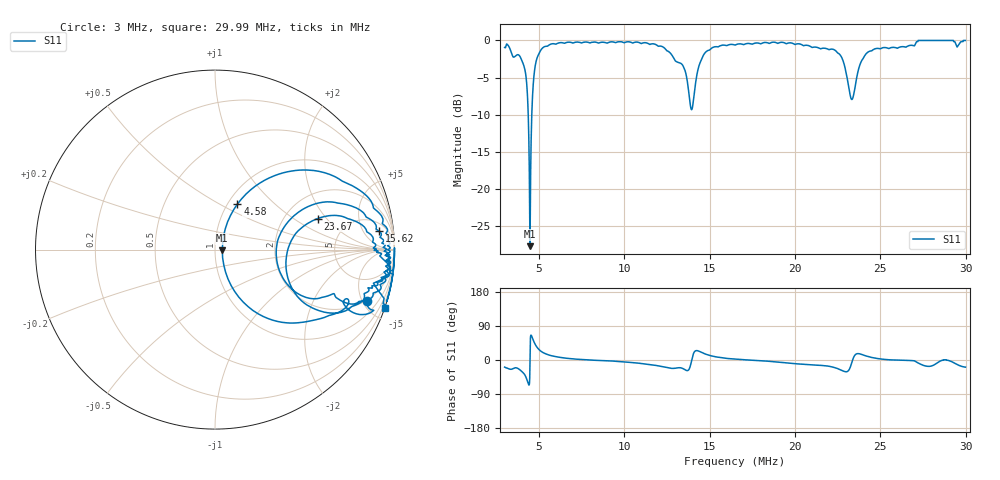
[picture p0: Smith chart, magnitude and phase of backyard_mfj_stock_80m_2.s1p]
! Touchstone file generated by AntScope2
# MHz Z RI R 50
! Format: Frequency Z-real Z-imaginary (normalized to 50 Ohm)
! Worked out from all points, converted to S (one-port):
!   2000 points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, 3 MHz to 29.99 MHz, reference 50 ohm
!   lowest |S11| = -27.7 dB at 4.485 MHz (marker M1), VSWR 1.09, Z = 54.2 - j0.43 ohm
!   |S11| at or under -10 dB: 4.383 MHz to 4.592 MHz (209.2 kHz wide, 4.66 % of centre)
!   S11 on the Smith chart (normalised r, x): 3 MHz: 1.85, -5.45; 4.58 MHz: 1.11, +0.61; 15.62 MHz: 9, +12; 23.67 MHz: 3.02, +1.62; 29.99 MHz: 0.00, -6.03
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3  1.851 -5.452
3.8235  2.092 -3.676
4.134  1.504 -2.163
4.3095  1.188 -1.191
4.485  1.085 -0.0086
4.5795  1.108 0.6132
4.7145  1.185 1.504
4.9305  1.4 2.906
5.3355  1.86 5.855
6.375  5.549 16.88
9.75  6.943 -25.47
11.775  1.831 -7.877
13.125  2.803 -2.894
13.6515  2.14 -1.695
13.962  2.038 0.0198
14.3805  2.528 2.453
15.6225  8.639 11.56
16.5  21.47 11.52
19.875  3.402 -11.72
22.278  2.118 -4.978
22.872  1.852 -2.526
23.25  2.179 -0.7004
23.6685  3.017 1.624
24.654  10.18 6.976
26.625  22.22 -5.166
27.84  0 -6.758
28.839  0.0068 200
29.9865  0 -6.031
